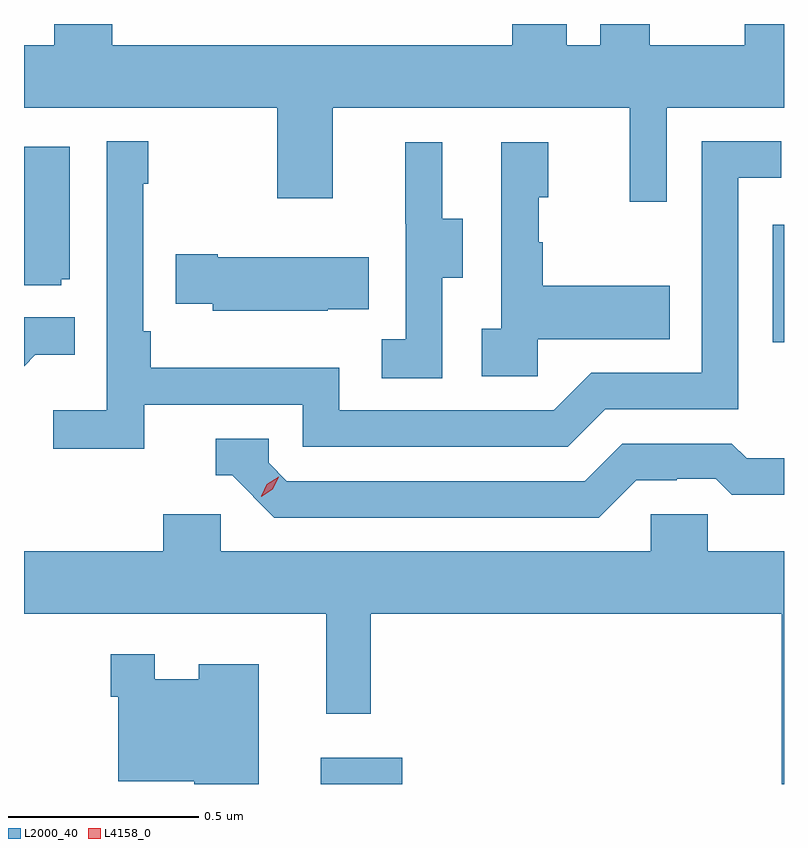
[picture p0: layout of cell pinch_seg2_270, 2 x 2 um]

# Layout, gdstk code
import gdstk
lib = gdstk.Library(unit=1e-6, precision=1e-09)
def R(c, l, rs):  # rectangles x0, y0, x1, y1
    for r in rs: c.add(gdstk.rectangle(r[:2], r[2:], *l))
def P(c, l, *ps):  # polygons
    for p in ps: c.add(gdstk.Polygon(p, *l))
L2000_40 = (2000, 40)
L4158_0 = (4158, 0)

pinch_seg2_270 = lib.new_cell('pinch_seg2_270')
R(pinch_seg2_270, L2000_40, [(913.415,663.172,913.63,663.241), (914.604,664.335,914.634,664.644)])
P(pinch_seg2_270, L2000_40, [(914.325,664.952),(914.634,664.952),(914.634,665.172),(914.531,665.172),(914.531,665.116),(914.281,665.116),(914.281,665.172),(914.15,665.172),(914.15,665.116),(914.062,665.116),(914.062,665.172),(913.919,665.172),(913.919,665.116),(912.866,665.116),(912.866,665.172),(912.713,665.172),(912.713,665.116),(912.634,665.116),(912.634,664.952),(913.3,664.952),(913.3,664.713),(913.447,664.713),(913.447,664.952),(914.228,664.952),(914.228,664.704),(914.325,664.704)],
  [(912.95,664.17),(913.368,664.17),(913.368,664.059),(914.065,664.059),(914.164,664.158),(914.514,664.158),(914.514,664.767),(914.627,664.767),(914.627,664.863),(914.418,664.863),(914.418,664.254),(914.127,664.254),(914.028,664.155),(913.464,664.155),(913.464,664.267),(912.968,664.267),(912.968,664.363),(912.948,664.363),(912.948,664.751),(912.961,664.751),(912.961,664.864),(912.852,664.864),(912.852,664.156),(912.711,664.156),(912.711,664.054),(912.95,664.054)],
  [(913.734,664.504),(913.789,664.504),(913.789,664.659),(913.735,664.659),(913.735,664.861),(913.637,664.861),(913.637,664.647),(913.638,664.647),(913.638,664.343),(913.575,664.343),(913.575,664.24),(913.734,664.24)],
  [(913.986,664.343),(914.333,664.343),(914.333,664.483),(913.999,664.483),(913.999,664.598),(913.989,664.598),(913.989,664.716),(914.014,664.716),(914.014,664.861),(913.89,664.861),(913.89,664.37),(913.839,664.37),(913.839,664.245),(913.986,664.245)],
  [(912.732,664.5),(912.754,664.5),(912.754,664.849),(912.634,664.849),(912.634,664.485),(912.732,664.485)],
  [(913.433,664.421),(913.541,664.421),(913.541,664.558),(913.144,664.558),(913.144,664.566),(913.033,664.566),(913.033,664.436),(913.131,664.436),(913.131,664.418),(913.433,664.418)],
  [(912.663,664.301),(912.767,664.301),(912.767,664.4),(912.634,664.4),(912.634,664.272)],
  [(914.245,663.972),(914.352,663.972),(914.352,663.975),(914.455,663.975),(914.497,663.933),(914.634,663.933),(914.634,664.029),(914.536,664.029),(914.497,664.068),(914.208,664.068),(914.109,663.969),(913.326,663.969),(913.278,664.017),(913.278,664.08),(913.139,664.08),(913.139,663.984),(913.182,663.984),(913.293,663.873),(914.146,663.873)],
  [(914.634,663.784),(914.433,663.784),(914.433,663.882),(914.283,663.882),(914.283,663.784),(913.152,663.784),(913.152,663.882),(913.001,663.882),(913.001,663.784),(912.634,663.784),(912.634,663.62),(913.43,663.62),(913.43,663.357),(913.547,663.357),(913.547,663.62),(914.628,663.62),(914.628,663.172),(914.634,663.172)],
  [(913.252,663.487),(913.094,663.487),(913.094,663.448),(912.978,663.448),(912.978,663.514),(912.862,663.514),(912.862,663.401),(912.882,663.401),(912.882,663.179),(913.082,663.179),(913.082,663.172),(913.252,663.172)])
P(pinch_seg2_270, L4158_0, [(913.258,663.928),(913.258,663.929),(913.273,663.961),(913.304,663.981),(913.304,663.981),(913.304,663.981),(913.288,663.948),(913.258,663.928)])

lib.write_gds('pinch_seg2_270.gds')
